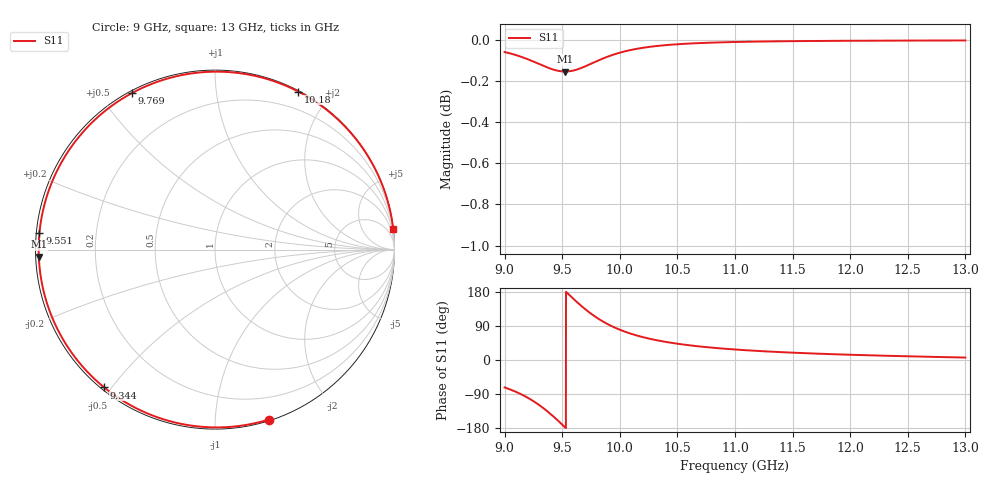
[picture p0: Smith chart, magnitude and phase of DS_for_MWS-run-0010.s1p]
! TOUCHSTONE file generated by CST DESIGN STUDIO
! Date and time: Tue Feb  4 17:28:53 2025
! Project name: C:\Work\MatlabApps\UnitCellOptimizationMatlab\CST\unitcell.cst
! Tree item: Tasks\Sweep1\SPara1\S-Parameters
! Header version: 2024
! Port assignment regex: !\s*Touchstone port\s*([0-9]+)\s*=\s*(CST MWS port|CST DES external port|CST DES block port)\s*(.+)\s* \(\"(.*)\"\)(\s*mode\s*([0-9]+))?.*
! Touchstone port assignment:
! Touchstone port 1 = CST DES external port 1 ("")
# GHz S MA R 50
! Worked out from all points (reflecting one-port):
!   4001 points, 9 GHz to 13 GHz, reference 50 ohm
!   lowest |S11| = -0.2 dB at 9.525 GHz (marker M1), VSWR 112.89, Z = 0.443 - j0.992 ohm
!   phase of S11 starts at -72 deg and turns -281 deg over the sweep
!   S11 on the Smith chart (normalised r, x): 9 GHz: 0.01, -1.37; 9.344 GHz: 0.01, -0.48; 9.551 GHz: 0.01, +0.05; 9.769 GHz: 0.01, +0.60; 10.18 GHz: 0.01, +1.66; 13 GHz: 0, +18
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9  0.9932 -72.4
9.095  0.9916 -83.6
9.202  0.9892 -99.8
9.276  0.9872 -113.7
9.344  0.9854 -128.8
9.417  0.9836 -147.3
9.46  0.9829 -159.1
9.5  0.9825 -170.5
9.525  0.9824 -177.7
9.551  0.9825 174.7
9.605  0.9831 159.3
9.666  0.9844 142.7
9.717  0.9858 129.9
9.769  0.9873 118.1
9.818  0.9887 108.1
9.871  0.9901 98.6
9.93  0.9915 89.3
10  0.9929 79.9
10.085  0.9942 70.5
10.177  0.9953 62.2
10.324  0.9966 51.9
10.5  0.9976 43.0
10.721  0.9983 34.9
11  0.9988 27.7
11.5  0.9993 19.3
12  0.9995 13.8
12.5  0.9996 9.8
13  0.9997 6.5
